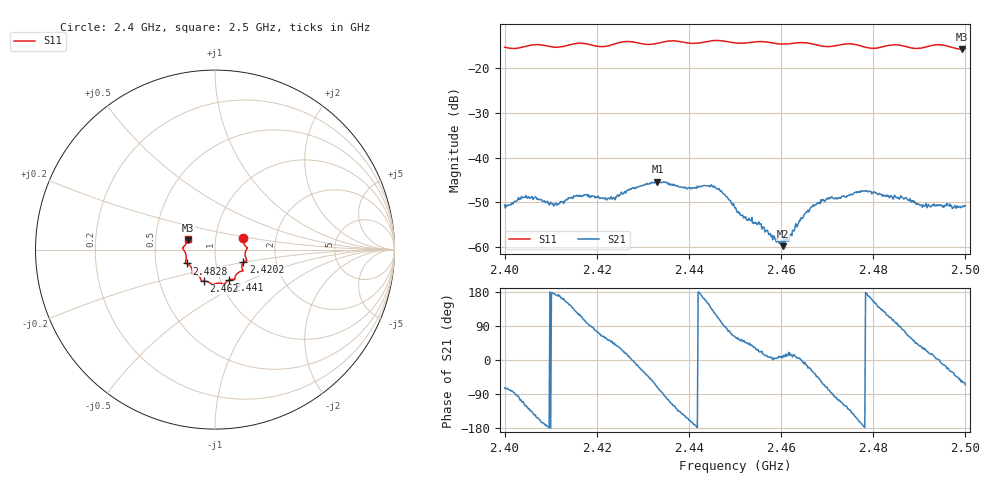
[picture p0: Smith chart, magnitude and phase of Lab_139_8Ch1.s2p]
# Hz S RI R 50
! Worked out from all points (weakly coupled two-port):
!   601 points, 2.4 GHz to 2.5 GHz, reference 50 ohm
!   highest |S21| = -45.39 dB at 2.4332 GHz (marker M1); lowest = -59.7 dB at 2.4603 GHz (marker M2)
!   lowest |S11| = -15.8 dB at 2.4993 GHz (marker M3), VSWR 1.39, Z = 36.6 + j3.85 ohm
!   |S11| at or under -10 dB: start of sweep to end of sweep
!   S12 and S22 are empty: the file has one direction only
!   S11 on the Smith chart (normalised r, x): 2.4 GHz: 1.36, +0.18; 2.4202 GHz: 1.36, -0.20; 2.441 GHz: 1.10, -0.39; 2.462 GHz: 0.84, -0.30; 2.4828 GHz: 0.72, -0.11; 2.5 GHz: 0.73, +0.09
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2.4e9  0.1576 0.0629  0.000847 -0.00284  0 0  0 0
2.404167e9  0.1704 0.0186  -0.00157 -0.00327  0 0  0 0
2.411167e9  0.1682 -0.0184  -0.00308 0.000471  0 0  0 0
2.416667e9  0.1779 -0.0601  -0.00151 0.00335  0 0  0 0
2.420167e9  0.158 -0.071  0.000982 0.00349  0 0  0 0
2.423833e9  0.1512 -0.1054  0.00252 0.00248  0 0  0 0
2.433167e9  0.1128 -0.1498  0.00161 -0.00513  0 0  0 0
2.433333e9  0.1122 -0.1512  0.00145 -0.00516  0 0  0 0
2.441e9  0.0785 -0.1695  -0.00449 -0.000794  0 0  0 0
2.445333e9  0.0523 -0.194  -0.00289 0.00375  0 0  0 0
2.45e9  0.0285 -0.1872  0.00132 0.0024  0 0  0 0
2.460333e9  -0.0443 -0.178  0.00102 0.000106  0 0  0 0
2.462e9  -0.0604 -0.1756  0.00133 0.000412  0 0  0 0
2.466667e9  -0.078 -0.1682  0.00245 -0.00136  0 0  0 0
2.4705e9  -0.0997 -0.1407  0.000603 -0.00343  0 0  0 0
2.477833e9  -0.1263 -0.1168  -0.00422 -0.000496  0 0  0 0
2.482833e9  -0.1575 -0.0772  -0.0019 0.00332  0 0  0 0
2.483333e9  -0.1605 -0.0761  -0.00157 0.00338  0 0  0 0
2.490667e9  -0.1661 -0.015  0.00241 0.00141  0 0  0 0
2.494333e9  -0.1806 0.00929  0.003 1.13e-05  0 0  0 0
2.499333e9  -0.1531 0.0512  0.00145 -0.00242  0 0  0 0
2.5e9  -0.1516 0.061  0.00119 -0.00265  0 0  0 0
